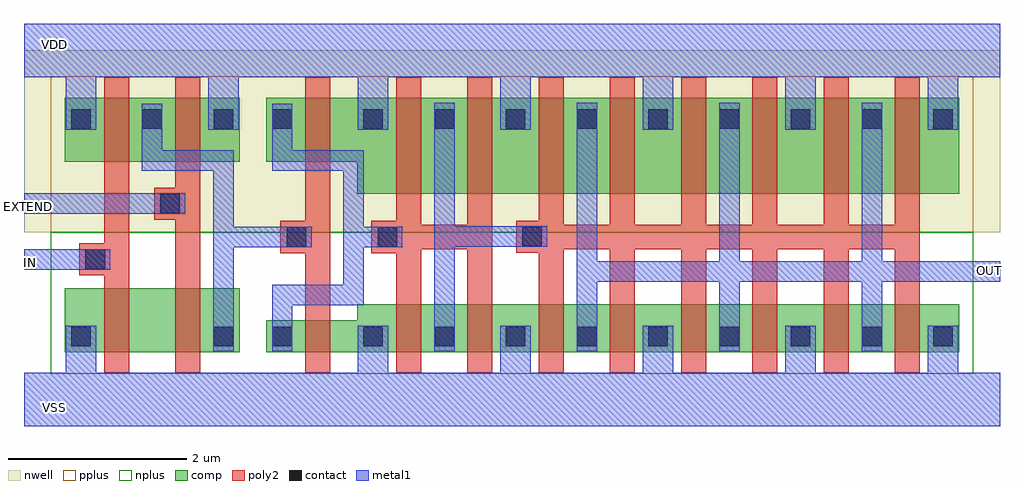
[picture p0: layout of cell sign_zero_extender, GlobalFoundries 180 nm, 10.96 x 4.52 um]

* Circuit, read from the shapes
.subckt sign_zero_extender EXTEND IN OUT VDD VSS
XM1 n1 IN VSS VSUBS nfet_03v3 w=0.72u l=0.28u
XM2 n2 EXTEND n1 VSUBS nfet_03v3 w=0.72u l=0.28u
XM3 VSS n2 n3 VSUBS nfet_03v3 w=0.36u l=0.28u
XM4 n4 n3 VSS VSUBS nfet_03v3 w=0.54u l=0.28u m=2
XM5 OUT n4 VSS VSUBS nfet_03v3 w=0.54u l=0.28u m=6
XM6 n2 IN VDD n5 pfet_03v3 w=0.72u l=0.28u
XM7 VDD EXTEND n2 n5 pfet_03v3 w=0.72u l=0.28u
XM8 VDD n2 n3 n5 pfet_03v3 w=0.72u l=0.28u
XM9 n4 n3 VDD n5 pfet_03v3 w=1.08u l=0.28u m=2
XM10 OUT n4 VDD n5 pfet_03v3 w=1.08u l=0.28u m=6
.ends

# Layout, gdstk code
import gdstk
lib = gdstk.Library(unit=1e-6, precision=5e-09)
def R(c, l, rs):  # rectangles x0, y0, x1, y1
    for r in rs: c.add(gdstk.rectangle(r[:2], r[2:], *l))
def A(c, l, x, y, w, h, nx, ny, dx, dy):  # array of equal rectangles
    R(c, l, [(x+i*dx, y+j*dy, x+i*dx+w, y+j*dy+h) for i in range(nx) for j in range(ny)])
nwell = (21, 0)
comp = (22, 0)
poly2 = (30, 0)
pplus = (31, 0)
nplus = (32, 0)
contact = (33, 0)
metal1 = (34, 0)

sign_zero_extender = lib.new_cell('sign_zero_extender')
R(sign_zero_extender, nwell, [(5.61,-2.645,16.57,-0.605)])
R(sign_zero_extender, comp, [(6.07,-3.995,8.03,-3.275), (8.33,-3.995,9.49,-3.635), (9.35,-3.995,16.11,-3.455), (9.35,-2.215,16.11,-1.135), (6.07,-1.855,8.03,-1.135), (8.33,-1.855,9.49,-1.135)])
A(sign_zero_extender, poly2, 11.67, -2.84, 0.52, 0.28, 5, 1, 0.8, 0)
R(sign_zero_extender, poly2, [(6.51,-4.225,6.79,-0.905), (6.51,-4.225,6.79,-0.905), (7.31,-4.225,7.59,-0.905), (8.77,-4.225,9.05,-0.905), (8.77,-4.225,9.05,-0.905), (9.79,-4.225,10.07,-0.905), (9.79,-4.225,10.07,-0.905), (10.59,-4.225,10.87,-0.905), (10.59,-4.225,10.87,-0.905), (11.39,-4.225,11.67,-0.905), (11.39,-4.225,11.67,-0.905), (12.19,-4.225,12.47,-0.905), (12.19,-4.225,12.47,-0.905), (12.99,-4.225,13.27,-0.905), (12.99,-4.225,13.27,-0.905), (13.79,-4.225,14.07,-0.905), (13.79,-4.225,14.07,-0.905), (14.59,-4.225,14.87,-0.905), (14.59,-4.225,14.87,-0.905), (15.39,-4.225,15.67,-0.905), (15.39,-4.225,15.67,-0.905), (6.23,-3.13,6.59,-2.77), (6.23,-3.13,6.59,-2.77), (8.49,-2.88,8.85,-2.52), (8.49,-2.88,8.85,-2.52), (9.51,-2.88,9.87,-2.52), (9.51,-2.88,9.87,-2.52), (11.135,-2.875,11.495,-2.515), (11.135,-2.875,11.495,-2.515), (10.07,-2.84,10.59,-2.56), (7.07,-2.505,7.43,-2.145)])
R(sign_zero_extender, pplus, [(5.91,-2.645,16.27,-0.895)])
R(sign_zero_extender, nplus, [(5.91,-4.235,16.27,-2.645)])
A(sign_zero_extender, contact, 9.42, -3.925, 0.22, 0.22, 3, 2, 0.8, 2.44)
A(sign_zero_extender, contact, 11.02, -3.925, 0.22, 0.22, 3, 2, 0.8, 2.44)
A(sign_zero_extender, contact, 12.62, -3.925, 0.22, 0.22, 3, 2, 0.8, 2.44)
A(sign_zero_extender, contact, 14.22, -3.925, 0.22, 0.22, 3, 2, 0.8, 2.44)
R(sign_zero_extender, contact, [(6.14,-3.925,6.36,-3.705), (6.14,-3.925,6.36,-3.705), (7.74,-3.925,7.96,-3.705), (8.4,-3.925,8.62,-3.705), (9.42,-3.925,9.64,-3.705), (15.82,-3.925,16.04,-3.705), (6.3,-3.06,6.52,-2.84), (6.3,-3.06,6.52,-2.84), (8.56,-2.81,8.78,-2.59), (8.56,-2.81,8.78,-2.59), (9.58,-2.81,9.8,-2.59), (9.58,-2.81,9.8,-2.59), (11.205,-2.805,11.425,-2.585), (11.205,-2.805,11.425,-2.585), (7.14,-2.435,7.36,-2.215), (7.14,-2.435,7.36,-2.215), (6.14,-1.485,6.36,-1.265), (6.14,-1.485,6.36,-1.265), (6.94,-1.485,7.16,-1.265), (6.94,-1.485,7.16,-1.265), (7.74,-1.485,7.96,-1.265), (7.74,-1.485,7.96,-1.265), (8.4,-1.485,8.62,-1.265), (9.42,-1.485,9.64,-1.265), (15.82,-1.485,16.04,-1.265)])
A(sign_zero_extender, metal1, 10.215, -3.985, 0.23, 2.79, 4, 1, 1.6, 0)
R(sign_zero_extender, metal1, [(5.61,-4.825,16.57,-4.225), (6.08,-4.225,6.42,-3.695), (6.08,-4.225,6.42,-3.695), (9.36,-4.225,9.7,-3.695), (9.36,-4.225,9.7,-3.695), (10.96,-4.225,11.3,-3.695), (10.96,-4.225,11.3,-3.695), (12.56,-4.225,12.9,-3.695), (12.56,-4.225,12.9,-3.695), (14.16,-4.225,14.5,-3.695), (14.16,-4.225,14.5,-3.695), (15.76,-4.225,16.1,-3.695), (15.76,-4.225,16.1,-3.695), (7.735,-3.985,7.965,-1.725), (8.395,-3.985,8.625,-3.235), (8.625,-3.465,9.195,-3.235), (9.195,-3.465,9.425,-1.725), (12.045,-3.2,16.57,-2.97), (5.61,-3.065,6.58,-2.835), (7.965,-2.815,8.84,-2.585), (9.425,-2.815,9.86,-2.585), (10.445,-2.81,11.485,-2.58), (5.61,-2.44,7.42,-2.21), (6.935,-1.955,7.165,-1.205), (6.935,-1.955,7.165,-1.205), (7.165,-1.955,7.735,-1.725), (8.395,-1.955,8.625,-1.205), (8.625,-1.955,9.195,-1.725), (6.08,-1.495,6.42,-0.905), (6.08,-1.495,6.42,-0.905), (7.68,-1.495,8.02,-0.905), (7.68,-1.495,8.02,-0.905), (9.36,-1.495,9.7,-0.905), (9.36,-1.495,9.7,-0.905), (10.96,-1.495,11.3,-0.905), (10.96,-1.495,11.3,-0.905), (12.56,-1.495,12.9,-0.905), (12.56,-1.495,12.9,-0.905), (14.16,-1.495,14.5,-0.905), (14.16,-1.495,14.5,-0.905), (15.76,-1.495,16.1,-0.905), (15.76,-1.495,16.1,-0.905), (5.61,-0.905,16.57,-0.305)])
sign_zero_extender.add(gdstk.Label('VSS', (5.95,-4.615), layer=34, texttype=10))
sign_zero_extender.add(gdstk.Label('OUT', (16.45,-3.075), layer=34, texttype=10))
sign_zero_extender.add(gdstk.Label('EXTEND', (5.665,-2.355), layer=34, texttype=10))
sign_zero_extender.add(gdstk.Label('IN', (5.68,-2.985), layer=34, texttype=10))
sign_zero_extender.add(gdstk.Label('VDD', (5.95,-0.54), layer=34, texttype=10))
sign_zero_extender.add(gdstk.Label('VSS', (5.95,-4.615), layer=34, texttype=10))

lib.write_gds('sign_zero_extender.gds')
